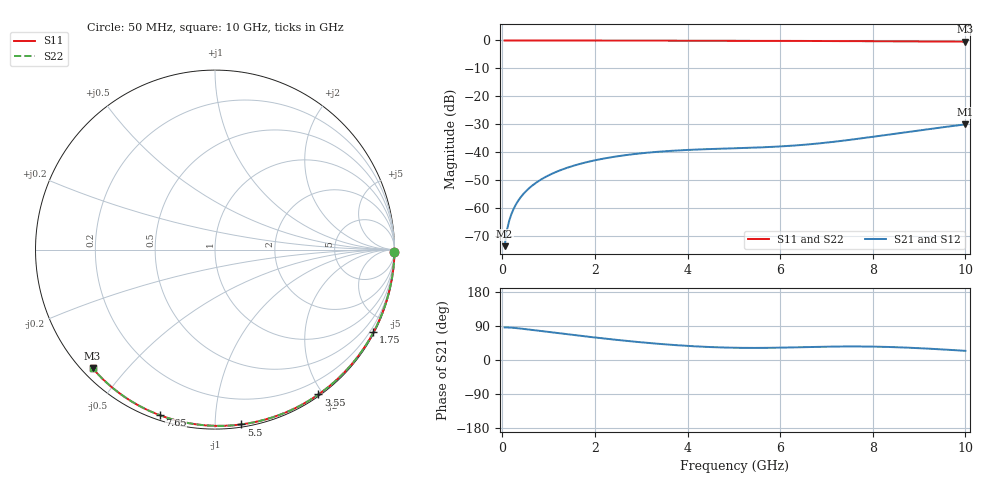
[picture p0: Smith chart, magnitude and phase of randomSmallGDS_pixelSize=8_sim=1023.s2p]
! freq	dB(S11)	phase(S11)	dB(S12)	phase(S12)
!  dB(S21)	phase(S21)	dB(S22)	phase(S22)
!S-par simulation data
#  GHz  S  DB  R 50
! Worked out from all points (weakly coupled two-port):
!   200 points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, 50 MHz to 10 GHz, reference 50 ohm
!   highest |S21| = -30.03 dB at 10 GHz (marker M1); lowest = -73.6 dB at 50 MHz (marker M2)
!   lowest |S11| = -0.5 dB at 10 GHz (marker M3), VSWR 38.50, Z = 1.51 - j20.2 ohm
!   |S11| at or under -10 dB: nowhere
!   |S22| runs from -0.5 to 0.0 dB; largest |S21 - S12| = 0
!   S11 on the Smith chart (normalised r, x): 50 MHz: open; 1.75 GHz: 0.04, -4.08; 3.55 GHz: 0.02, -1.94; 5.5 GHz: 0.02, -1.16; 7.65 GHz: 0.02, -0.72; 10 GHz: 0.03, -0.40
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0.05  -0.00 -0.8  -73.61 86.1  -73.61 86.1  -0.00 -0.8
0.1  -0.00 -1.6  -67.88 85.9  -67.88 85.9  -0.00 -1.6
0.15  -0.00 -2.4  -64.45 85.7  -64.45 85.7  -0.00 -2.4
0.2  -0.00 -3.2  -62.00 85.4  -62.00 85.4  -0.00 -3.2
0.25  -0.00 -4.0  -60.08 84.8  -60.08 84.8  -0.00 -4.0
0.35  -0.00 -5.6  -57.19 83.6  -57.19 83.6  -0.00 -5.6
0.5  -0.01 -8.0  -54.13 81.5  -54.13 81.5  -0.01 -8.0
0.7  -0.01 -11.2  -51.26 78.5  -51.26 78.5  -0.01 -11.2
1  -0.02 -15.9  -48.27 74.0  -48.27 74.0  -0.02 -15.9
1.35  -0.03 -21.4  -45.84 68.8  -45.84 68.8  -0.03 -21.4
1.75  -0.04 -27.6  -43.85 63.0  -43.85 63.0  -0.04 -27.6
2.5  -0.05 -39.0  -41.41 52.8  -41.41 52.8  -0.05 -39.0
3.4  -0.07 -52.3  -39.78 42.4  -39.78 42.4  -0.07 -52.3
3.55  -0.07 -54.5  -39.60 41.0  -39.60 41.0  -0.07 -54.5
4.3  -0.09 -65.1  -38.97 35.2  -38.97 35.2  -0.09 -65.1
5.05  -0.12 -75.4  -38.56 32.2  -38.56 32.2  -0.12 -75.4
5.5  -0.13 -81.4  -38.31 31.9  -38.31 31.9  -0.13 -81.4
6.7  -0.19 -96.8  -37.06 34.5  -37.06 34.5  -0.19 -96.8
7.65  -0.24 -108.5  -35.25 35.8  -35.25 35.8  -0.24 -108.5
8.35  -0.29 -116.8  -33.67 34.3  -33.67 34.3  -0.29 -116.8
9.2  -0.37 -126.7  -31.74 30.0  -31.74 30.0  -0.37 -126.7
10  -0.45 -135.9  -30.03 24.2  -30.03 24.2  -0.45 -135.9
